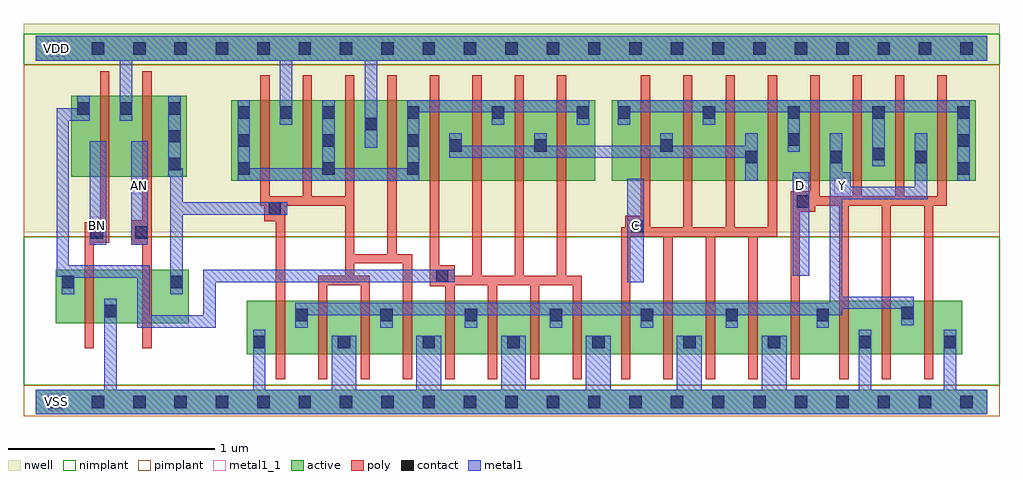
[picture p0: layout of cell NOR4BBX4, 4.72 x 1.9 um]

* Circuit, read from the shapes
.subckt NOR4BBX4 AN BN C D VDD VSS Y
M1 VSS BN n1 VSS nfet w=0.26u l=0.045u
M2 n2 AN VSS VSS nfet w=0.26u l=0.045u
M3 Y n2 VSS VSS nfet w=0.26u l=0.045u m=4
M4 Y n1 VSS VSS nfet w=0.26u l=0.045u m=4
M5 Y C VSS VSS nfet w=0.26u l=0.045u m=4
M6 Y D VSS VSS nfet w=0.26u l=0.045u m=4
M7 VDD BN n1 VDD pfet w=0.39u l=0.045u
M8 n2 AN VDD VDD pfet w=0.39u l=0.045u
M9 VDD n2 n3 VDD pfet w=0.39u l=0.045u m=4
M10 n4 n1 n3 VDD pfet w=0.39u l=0.045u m=4
M11 n4 C n5 VDD pfet w=0.39u l=0.045u m=4
M12 Y D n5 VDD pfet w=0.39u l=0.045u m=4
.ends

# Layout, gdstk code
import gdstk
lib = gdstk.Library(unit=1e-6, precision=5e-10)
def R(c, l, rs):  # rectangles x0, y0, x1, y1
    for r in rs: c.add(gdstk.rectangle(r[:2], r[2:], *l))
def A(c, l, x, y, w, h, nx, ny, dx, dy):  # array of equal rectangles
    R(c, l, [(x+i*dx, y+j*dy, x+i*dx+w, y+j*dy+h) for i in range(nx) for j in range(ny)])
def P(c, l, *ps):  # polygons
    for p in ps: c.add(gdstk.Polygon(p, *l))
active = (1, 0)
nwell = (2, 0)
poly = (3, 0)
nimplant = (4, 0)
pimplant = (5, 0)
contact = (6, 0)
metal1 = (7, 0)
metal1_1 = (7, 1)

nor4bbx4 = lib.new_cell('NOR4BBX4')
R(nor4bbx4, active, [(0,-0.06,4.6,0.06), (1.02,0.23,4.48,0.49), (0.095,0.38,0.74,0.64), (0.945,1.07,2.705,1.46), (2.785,1.07,4.545,1.46), (0.17,1.09,0.73,1.48), (0,1.65,4.6,1.77)])
R(nor4bbx4, nwell, [(-0.06,0.82,4.66,1.83)])
P(nor4bbx4, poly, [(0.31,1.6),(0.355,1.6),(0.355,0.77),(0.28,0.77),(0.28,0.26),(0.235,0.26),(0.235,0.87),(0.31,0.87)],
  [(0.515,1.6),(0.56,1.6),(0.56,0.26),(0.515,0.26),(0.515,0.76),(0.46,0.76),(0.46,0.88),(0.515,0.88)],
  [(1.085,1.58),(1.13,1.58),(1.13,0.995),(1.29,0.995),(1.29,1.58),(1.335,1.58),(1.335,0.995),(1.495,0.995),(1.495,1.58),(1.54,1.58),(1.54,0.715),(1.7,0.715),(1.7,1.58),(1.745,1.58),(1.745,0.715),(1.82,0.715),(1.82,0.11),(1.775,0.11),(1.775,0.67),(1.54,0.67),(1.54,0.61),(1.615,0.61),(1.615,0.11),(1.57,0.11),(1.57,0.565),(1.41,0.565),(1.41,0.11),(1.365,0.11),(1.365,0.61),(1.495,0.61),(1.495,0.95),(1.205,0.95),(1.205,0.11),(1.16,0.11),(1.16,0.875),(1.105,0.875),(1.105,0.95),(1.085,0.95)],
  [(1.905,1.58),(1.95,1.58),(1.95,0.66),(2.025,0.66),(2.025,0.61),(2.11,0.61),(2.11,1.58),(2.155,1.58),(2.155,0.61),(2.315,0.61),(2.315,1.58),(2.36,1.58),(2.36,0.61),(2.52,0.61),(2.52,1.58),(2.565,1.58),(2.565,0.61),(2.64,0.61),(2.64,0.11),(2.595,0.11),(2.595,0.565),(2.435,0.565),(2.435,0.11),(2.39,0.11),(2.39,0.565),(2.23,0.565),(2.23,0.11),(2.185,0.11),(2.185,0.565),(2.025,0.565),(2.025,0.11),(1.98,0.11),(1.98,0.56),(1.905,0.56)],
  [(2.925,1.58),(2.97,1.58),(2.97,0.845),(3.13,0.845),(3.13,1.58),(3.175,1.58),(3.175,0.845),(3.335,0.845),(3.335,1.58),(3.38,1.58),(3.38,0.845),(3.54,0.845),(3.54,1.58),(3.585,1.58),(3.585,0.8),(3.49,0.8),(3.49,0.11),(3.445,0.11),(3.445,0.8),(3.285,0.8),(3.285,0.11),(3.24,0.11),(3.24,0.8),(3.08,0.8),(3.08,0.11),(3.035,0.11),(3.035,0.8),(2.875,0.8),(2.875,0.11),(2.83,0.11),(2.83,0.845),(2.85,0.845),(2.85,0.9),(2.925,0.9)],
  [(3.745,1.58),(3.79,1.58),(3.79,0.995),(3.95,0.995),(3.95,1.58),(3.995,1.58),(3.995,0.995),(4.155,0.995),(4.155,1.58),(4.2,1.58),(4.2,0.995),(4.36,0.995),(4.36,1.58),(4.405,1.58),(4.405,0.95),(4.34,0.95),(4.34,0.11),(4.295,0.11),(4.295,0.95),(4.135,0.95),(4.135,0.11),(4.09,0.11),(4.09,0.95),(3.93,0.95),(3.93,0.11),(3.885,0.11),(3.885,0.95),(3.77,0.95),(3.77,0.92),(3.695,0.92),(3.695,0.11),(3.65,0.11),(3.65,1.02),(3.745,1.02)])
R(nor4bbx4, nimplant, [(-0.06,0.08,4.66,0.8), (-0.06,1.63,4.66,1.78)])
R(nor4bbx4, pimplant, [(-0.06,-0.07,4.66,0.08), (-0.06,0.8,4.66,1.63)])
A(nor4bbx4, contact, 0.07, -0.03, 0.06, 0.06, 23, 2, 0.2, 1.71)
A(nor4bbx4, contact, 1.05, 0.26, 0.06, 0.06, 5, 1, 0.41, 0)
A(nor4bbx4, contact, 1.255, 0.39, 0.06, 0.06, 4, 1, 0.41, 0)
A(nor4bbx4, contact, 0.975, 1.1, 0.06, 0.06, 3, 2, 0.41, 0.135)
A(nor4bbx4, contact, 0.64, 1.12, 0.06, 0.06, 1, 3, 0, 0.135)
A(nor4bbx4, contact, 3.43, 1.155, 0.06, 0.06, 3, 1, 0.41, 0)
A(nor4bbx4, contact, 0.975, 1.37, 0.06, 0.06, 3, 1, 0.205, 0)
A(nor4bbx4, contact, 1.795, 1.37, 0.06, 0.06, 3, 1, 0.41, 0)
A(nor4bbx4, contact, 2.815, 1.37, 0.06, 0.06, 5, 1, 0.41, 0)
R(nor4bbx4, contact, [(3.13,0.26,3.19,0.32), (3.54,0.26,3.6,0.32), (3.98,0.26,4.04,0.32), (4.39,0.26,4.45,0.32), (2.925,0.39,2.985,0.45), (3.335,0.39,3.395,0.45), (3.775,0.39,3.835,0.45), (4.185,0.4,4.245,0.46), (0.33,0.41,0.39,0.47), (0.125,0.55,0.185,0.61), (0.65,0.55,0.71,0.61), (1.935,0.58,1.995,0.64), (0.265,0.79,0.325,0.85), (0.48,0.79,0.54,0.85), (2.88,0.82,2.94,0.88), (1.125,0.905,1.185,0.965), (3.68,0.94,3.74,1), (4.455,1.1,4.515,1.16), (4.045,1.17,4.105,1.23), (2,1.21,2.06,1.27), (2.41,1.21,2.47,1.27), (3.02,1.21,3.08,1.27), (4.455,1.235,4.515,1.295), (3.635,1.24,3.695,1.3), (1.59,1.315,1.65,1.375), (0.2,1.39,0.26,1.45), (0.405,1.39,0.465,1.45)])
R(nor4bbx4, metal1, [(2.86,0.58,2.94,1.08), (3.66,0.61,3.74,1.11), (0.26,0.76,0.34,1.26), (0.46,0.76,0.54,1.26)])
P(nor4bbx4, metal1, [(0,1.77),(4.6,1.77),(4.6,1.65),(1.65,1.65),(1.65,1.23),(1.59,1.23),(1.59,1.65),(1.24,1.65),(1.24,1.34),(1.18,1.34),(1.18,1.65),(0.465,1.65),(0.465,1.36),(0.405,1.36),(0.405,1.65),(0,1.65)],
  [(0.2,1.48),(0.26,1.48),(0.26,1.36),(0.16,1.36),(0.16,0.66),(0.55,0.66),(0.55,0.42),(0.81,0.42),(0.81,0.64),(2.025,0.64),(2.025,0.58),(0.87,0.58),(0.87,0.36),(0.49,0.36),(0.49,0.6),(0.185,0.6),(0.185,0.52),(0.125,0.52),(0.125,0.605),(0.1,0.605),(0.1,1.42),(0.2,1.42)],
  [(0.64,1.48),(0.7,1.48),(0.7,1.13),(0.71,1.13),(0.71,0.965),(1.215,0.965),(1.215,0.905),(0.71,0.905),(0.71,0.52),(0.65,0.52),(0.65,1.09),(0.64,1.09)],
  [(0.975,1.46),(1.035,1.46),(1.035,1.13),(1.385,1.13),(1.385,1.46),(1.445,1.46),(1.445,1.13),(1.795,1.13),(1.795,1.46),(2.675,1.46),(2.675,1.34),(2.615,1.34),(2.615,1.4),(2.265,1.4),(2.265,1.34),(2.205,1.34),(2.205,1.4),(1.855,1.4),(1.855,1.07),(0.975,1.07)],
  [(2,1.3),(2.06,1.3),(2.06,1.24),(2.41,1.24),(2.41,1.3),(2.47,1.3),(2.47,1.24),(3.02,1.24),(3.02,1.3),(3.08,1.3),(3.08,1.24),(3.43,1.24),(3.43,1.3),(3.49,1.3),(3.49,1.07),(3.43,1.07),(3.43,1.18),(2,1.18)],
  [(2.815,1.46),(4.515,1.46),(4.515,1.07),(4.455,1.07),(4.455,1.4),(4.105,1.4),(4.105,1.14),(4.045,1.14),(4.045,1.4),(3.695,1.4),(3.695,1.21),(3.635,1.21),(3.635,1.4),(3.285,1.4),(3.285,1.34),(3.225,1.34),(3.225,1.4),(2.875,1.4),(2.875,1.34),(2.815,1.34)],
  [(3.84,1.3),(3.9,1.3),(3.9,1.11),(3.94,1.11),(3.94,1.04),(4.25,1.04),(4.25,1.3),(4.31,1.3),(4.31,0.98),(3.9,0.98),(3.9,0.51),(4.245,0.51),(4.245,0.37),(4.185,0.37),(4.185,0.45),(3.9,0.45),(3.9,0.42),(3.835,0.42),(3.835,0.36),(3.775,0.36),(3.775,0.42),(3.395,0.42),(3.395,0.36),(3.335,0.36),(3.335,0.42),(2.985,0.42),(2.985,0.36),(2.925,0.36),(2.925,0.42),(2.545,0.42),(2.545,0.36),(2.485,0.36),(2.485,0.42),(2.135,0.42),(2.135,0.36),(2.075,0.36),(2.075,0.42),(1.725,0.42),(1.725,0.36),(1.665,0.36),(1.665,0.42),(1.315,0.42),(1.315,0.36),(1.255,0.36),(1.255,0.48),(3.84,0.48)],
  [(0.33,0.5),(0.39,0.5),(0.39,0.06),(1.05,0.06),(1.05,0.35),(1.11,0.35),(1.11,0.06),(1.43,0.06),(1.43,0.32),(1.55,0.32),(1.55,0.06),(1.84,0.06),(1.84,0.32),(1.96,0.32),(1.96,0.06),(2.25,0.06),(2.25,0.32),(2.37,0.32),(2.37,0.06),(2.66,0.06),(2.66,0.32),(2.78,0.32),(2.78,0.06),(3.1,0.06),(3.1,0.32),(3.22,0.32),(3.22,0.06),(3.51,0.06),(3.51,0.32),(3.63,0.32),(3.63,0.06),(3.98,0.06),(3.98,0.35),(4.04,0.35),(4.04,0.06),(4.39,0.06),(4.39,0.35),(4.45,0.35),(4.45,0.06),(4.6,0.06),(4.6,-0.06),(0,-0.06),(0,0.06),(0.33,0.06)])
R(nor4bbx4, metal1_1, [(0.06,-0.04,0.14,0.04), (0.26,0.815,0.34,0.895), (2.86,0.815,2.94,0.895), (0.46,1.005,0.54,1.085), (3.66,1.005,3.74,1.085), (3.86,1.005,3.94,1.085), (0.06,1.67,0.14,1.75)])
nor4bbx4.add(gdstk.Label('Y', (3.9,1.045), layer=7, texttype=1))
nor4bbx4.add(gdstk.Label('D', (3.7,1.045), layer=7, texttype=1))
nor4bbx4.add(gdstk.Label('C', (2.9,0.855), layer=7, texttype=1))
nor4bbx4.add(gdstk.Label('AN', (0.5,1.045), layer=7, texttype=1))
nor4bbx4.add(gdstk.Label('BN', (0.3,0.855), layer=7, texttype=1))
nor4bbx4.add(gdstk.Label('VDD', (0.1,1.71), layer=7, texttype=1))
nor4bbx4.add(gdstk.Label('VSS', (0.1,0), layer=7, texttype=1))
nor4bbx4.add(gdstk.Label('NOR4BBX4', (0,0), layer=63, texttype=0))

lib.write_gds('NOR4BBX4.gds')
